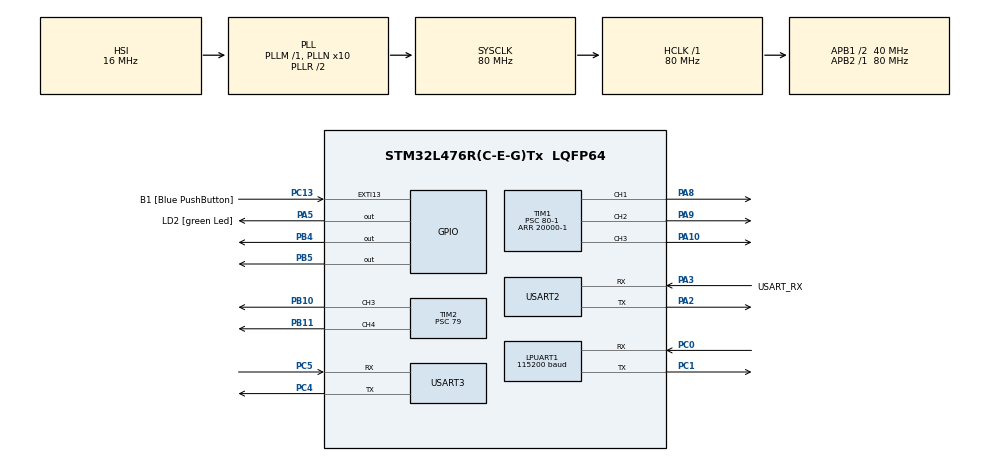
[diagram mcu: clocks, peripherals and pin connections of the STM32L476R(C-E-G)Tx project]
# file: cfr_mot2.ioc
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LPUART1.BaudRate=115200
LPUART1.WordLength=UART_WORDLENGTH_8B
Mcu.Family=STM32L4
Mcu.Name=STM32L476R(C-E-G)Tx
Mcu.Package=LQFP64
NVIC.LPUART1_IRQn=true\:0\:0\:false\:false\:true\:true\:true\:true
NVIC.PriorityGroup=NVIC_PRIORITYGROUP_4
PA10.Signal=S_TIM1_CH3
PA13\ (JTMS-SWDIO).GPIO_Label=TMS
PA13\ (JTMS-SWDIO).Mode=Serial_Wire
PA13\ (JTMS-SWDIO).Signal=SYS_JTMS-SWDIO
PA14\ (JTCK-SWCLK).GPIO_Label=TCK
PA14\ (JTCK-SWCLK).Mode=Serial_Wire
PA14\ (JTCK-SWCLK).Signal=SYS_JTCK-SWCLK
PA2.Mode=Asynchronous
PA2.Signal=USART2_TX
PA3.GPIO_Label=USART_RX
PA3.GPIO_Mode=GPIO_MODE_AF_PP
PA3.GPIO_PuPd=GPIO_NOPULL
PA3.GPIO_Speed=GPIO_SPEED_FREQ_VERY_HIGH
PA3.Mode=Asynchronous
PA3.Signal=USART2_RX
PA5.GPIO_Label=LD2 [green Led]
PA5.GPIO_ModeDefaultOutputPP=GPIO_MODE_OUTPUT_PP
PA5.GPIO_PuPd=GPIO_NOPULL
PA5.GPIO_Speed=GPIO_SPEED_FREQ_LOW
PA5.Signal=GPIO_Output
PA8.Signal=S_TIM1_CH1
PA9.Signal=S_TIM1_CH2
PB10.Signal=S_TIM2_CH3
PB11.Signal=S_TIM2_CH4
PB3\ (JTDO-TRACESWO).GPIO_Label=SWO
PB3\ (JTDO-TRACESWO).Signal=SYS_JTDO-SWO
PB4\ (NJTRST).Signal=GPIO_Output
PB5.Signal=GPIO_Output
PC0.Mode=Asynchronous
PC0.Signal=LPUART1_RX
PC1.Mode=Asynchronous
PC1.Signal=LPUART1_TX
PC13.GPIO_Label=B1 [Blue PushButton]
PC13.GPIO_ModeDefaultEXTI=GPIO_MODE_IT_FALLING
PC13.GPIO_PuPd=GPIO_NOPULL
PC13.Signal=GPXTI13
PC14-OSC32_IN\ (PC14).Mode=LSE-External-Oscillator
PC14-OSC32_IN\ (PC14).Signal=RCC_OSC32_IN
PC15-OSC32_OUT\ (PC15).Mode=LSE-External-Oscillator
PC15-OSC32_OUT\ (PC15).Signal=RCC_OSC32_OUT
PC4.Mode=Asynchronous
PC4.Signal=USART3_TX
PC5.Mode=Asynchronous
PC5.Signal=USART3_RX
PH0-OSC_IN\ (PH0).Mode=HSE-External-Oscillator
PH0-OSC_IN\ (PH0).Signal=RCC_OSC_IN
PH1-OSC_OUT\ (PH1).Mode=HSE-External-Oscillator
PH1-OSC_OUT\ (PH1).Signal=RCC_OSC_OUT
ProjectManager.HeapSize=0x200
ProjectManager.StackSize=0x400
ProjectManager.TargetToolchain=STM32CubeIDE
RCC.ADCFreq_Value=64000000
RCC.AHBFreq_Value=80000000
RCC.APB1CLKDivider=RCC_HCLK_DIV2
RCC.APB1Freq_Value=40000000
RCC.APB1TimFreq_Value=80000000
RCC.APB2Freq_Value=80000000
RCC.APB2TimFreq_Value=80000000
RCC.CortexFreq_Value=80000000
RCC.HCLKFreq_Value=80000000
RCC.HSE_VALUE=8000000
RCC.HSI_VALUE=16000000
RCC.MSI_VALUE=4000000
RCC.PLLN=10
RCC.PLLSourceVirtual=RCC_PLLSOURCE_HSI
RCC.PREFETCH_ENABLE=1
RCC.SYSCLKFreq_VALUE=80000000
RCC.SYSCLKSource=RCC_SYSCLKSOURCE_PLLCLK
RCC.USBFreq_Value=64000000
RCC.VCOOutputFreq_Value=160000000
SH.S_TIM1_CH1.0=TIM1_CH1,PWM Generation1 CH1
SH.S_TIM1_CH2.0=TIM1_CH2,PWM Generation2 CH2
SH.S_TIM1_CH3.0=TIM1_CH3,PWM Generation3 CH3
SH.S_TIM2_CH3.0=TIM2_CH3,PWM Generation3 CH3
SH.S_TIM2_CH4.0=TIM2_CH4,PWM Generation4 CH4
TIM1.Channel-PWM\ Generation1\ CH1=TIM_CHANNEL_1
TIM1.Channel-PWM\ Generation2\ CH2=TIM_CHANNEL_2
TIM1.Channel-PWM\ Generation3\ CH3=TIM_CHANNEL_3
TIM1.Period=20000-1
TIM1.Prescaler=80-1
TIM2.Channel-PWM\ Generation3\ CH3=TIM_CHANNEL_3
TIM2.Channel-PWM\ Generation4\ CH4=TIM_CHANNEL_4
TIM2.Period=1999
TIM2.Prescaler=79
USART2.VirtualMode-Asynchronous=VM_ASYNC
USART3.VirtualMode-Asynchronous=VM_ASYNC
VP_TIM1_VS_ClockSourceINT.Mode=Internal
VP_TIM2_VS_ClockSourceINT.Mode=Internal
board=NUCLEO-L476RG

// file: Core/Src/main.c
/* USER CODE BEGIN Header */
/**
 ******************************************************************************
 * @file           : main.c
 * @brief          : Main program body
 ******************************************************************************
 * @attention
 *
 * Copyright (c) 2024 STMicroelectronics.
 * All rights reserved.
 *
 * This software is licensed under terms that can be found in the LICENSE file
 * in the root directory of this software component.
 * If no LICENSE file comes with this software, it is provided AS-IS.
 *
 ******************************************************************************
 */
/* USER CODE END Header */
#include "main.h"

/* USER CODE BEGIN Includes */
#include <string.h>
#include <stdio.h>
#include "servo.h"
#include "maxon.h"
/* USER CODE END Includes */

UART_HandleTypeDef hlpuart1;
UART_HandleTypeDef huart2;
UART_HandleTypeDef huart3;

TIM_HandleTypeDef htim1;
TIM_HandleTypeDef htim2;

/* USER CODE BEGIN PV */
char rx_data[13];
char newline[] = "\r\n";
int i = 0;

/* USER CODE END PV */

void SystemClock_Config(void);
static void MX_GPIO_Init(void);
static void MX_TIM2_Init(void);
static void MX_LPUART1_UART_Init(void);
static void MX_TIM1_Init(void);
static void MX_USART2_UART_Init(void);
static void MX_USART3_UART_Init(void);

int main(void)
{

  /* MCU Configuration--------------------------------------------------------*/

  /* Reset of all peripherals, Initializes the Flash interface and the Systick. */
  HAL_Init();

  /* Configure the system clock */
  SystemClock_Config();

  /* Initialize all configured peripherals */
  MX_GPIO_Init();
  MX_TIM2_Init();
  MX_LPUART1_UART_Init();
  MX_TIM1_Init();
  MX_USART2_UART_Init();
  MX_USART3_UART_Init();
  /* USER CODE BEGIN 2 */
	HAL_TIM_PWM_Start(&htim2, TIM_CHANNEL_3); //PB10 TIM2 CH3 Moteur D
	HAL_TIM_PWM_Start(&htim2, TIM_CHANNEL_4); //PB11 TIM2 CH4 Moteur G

	HAL_TIM_PWM_Start(&htim1, TIM_CHANNEL_1); //PA 8 TIM1 CH1
	HAL_TIM_PWM_Start(&htim1, TIM_CHANNEL_2); //PA 8 TIM1 CH1
	HAL_TIM_PWM_Start(&htim1, TIM_CHANNEL_3); //PA 8 TIM1 CH1

	HAL_UART_Receive_IT(&hlpuart1, (uint8_t *)rx_data, sizeof(rx_data));

	HAL_GPIO_WritePin(GPIOB, GPIO_PIN_4, 1); //Avant moteur A
	HAL_GPIO_WritePin(GPIOB, GPIO_PIN_8, 1);
	HAL_GPIO_WritePin(GPIOB, GPIO_PIN_5, 1); //Avant moteur B
	HAL_GPIO_WritePin(GPIOB, GPIO_PIN_9, 1);

  /* USER CODE END 2 */

  /* Infinite loop */
  /* USER CODE BEGIN WHILE */
	while (1)
	{
		while(1){
			TIM1 -> CCR1 = 1000;
			HAL_Delay(1000);
			TIM1 -> CCR1 = 2000; //Valeur extremes (1-2ms)
			HAL_Delay(1000);

			TIM1 -> CCR2 = 1000;
			HAL_Delay(1000);
			TIM1 -> CCR2 = 2000; //Valeur extremes (1-2ms)
			HAL_Delay(1000);

			TIM1 -> CCR3 = 1000;
			HAL_Delay(1000);
			TIM1 -> CCR3 = 2000; //Valeur extremes (1-2ms)
			HAL_Delay(1000);

		}

		// Pour le moteur Maxon droit
		//char direction_d = rx_data[0]; // Premier caractère pour la direction
		char mot_maxon_dataD[5];      // 4 caractères + '\0' pour la vitesse
		strncpy(mot_maxon_dataD, (char *)&rx_data[1], 4);
		mot_maxon_dataD[4] = '\0';    // Null terminate
		int mot_maxon_valueD = atoi(mot_maxon_dataD);
		int inv_d = (int)rx_data[0];
		mot_maxonD(mot_maxon_valueD, inv_d);

		// Pour le moteur Maxon gauche
		char direction_g = rx_data[5]; // Premier caractère pour la direction
		char mot_maxon_dataG[5];      // 4 caractères + '\0' pour la vitesse
		strncpy(mot_maxon_dataG, (char *)&rx_data[6], 4);
		mot_maxon_dataG[4] = '\0';    // Null terminate
		int mot_maxon_valueG = atoi(mot_maxon_dataG);
		int inv_g = (int)rx_data[5];
		mot_maxonG(mot_maxon_valueG, inv_g);

		// Pour le servo moteur
		char servo_goal_data[5];
		memcpy(servo_goal_data, (char *)&rx_data[10], 3);
		servo_goal_data[4] = '\r'; // Ajouter retour chariot
		servo_goal_data[5] = '\n';
		//fonction servo
		reach_servo_goal(servo_goal_data);
		HAL_UART_Transmit(&huart3, (uint8_t *)servo_goal_data, 5, HAL_MAX_DELAY);

		// Transmission pour debug
		char message[15]; // 13 caractères de rx_data + 2 pour "\r\n"
		memcpy(message, rx_data, 13); // Copier rx_data dans message
		message[14] = '\r'; // Ajouter retour chariot
		message[15] = '\n'; // Ajouter nouvelle ligne
		//HAL_UART_Transmit(&huart2, (uint8_t *)message, sizeof(message), HAL_MAX_DELAY);

    /* USER CODE END WHILE */

	}
}

void SystemClock_Config(void)
{
  RCC_OscInitTypeDef RCC_OscInitStruct = {0};
  RCC_ClkInitTypeDef RCC_ClkInitStruct = {0};

  /** Configure the main internal regulator output voltage
  */
  if (HAL_PWREx_ControlVoltageScaling(PWR_REGULATOR_VOLTAGE_SCALE1) != HAL_OK)
  {
    Error_Handler();
  }

  /** Initializes the RCC Oscillators according to the specified parameters
  * in the RCC_OscInitTypeDef structure.
  */
  RCC_OscInitStruct.OscillatorType = RCC_OSCILLATORTYPE_HSI;
  RCC_OscInitStruct.HSIState = RCC_HSI_ON;
  RCC_OscInitStruct.HSICalibrationValue = RCC_HSICALIBRATION_DEFAULT;
  RCC_OscInitStruct.PLL.PLLState = RCC_PLL_ON;
  RCC_OscInitStruct.PLL.PLLSource = RCC_PLLSOURCE_HSI;
  RCC_OscInitStruct.PLL.PLLM = 1;
  RCC_OscInitStruct.PLL.PLLN = 10;
  RCC_OscInitStruct.PLL.PLLP = RCC_PLLP_DIV7;
  RCC_OscInitStruct.PLL.PLLQ = RCC_PLLQ_DIV2;
  RCC_OscInitStruct.PLL.PLLR = RCC_PLLR_DIV2;
  if (HAL_RCC_OscConfig(&RCC_OscInitStruct) != HAL_OK)
  {
    Error_Handler();
  }

  /** Initializes the CPU, AHB and APB buses clocks
  */
  RCC_ClkInitStruct.ClockType = RCC_CLOCKTYPE_HCLK|RCC_CLOCKTYPE_SYSCLK
                              |RCC_CLOCKTYPE_PCLK1|RCC_CLOCKTYPE_PCLK2;
  RCC_ClkInitStruct.SYSCLKSource = RCC_SYSCLKSOURCE_PLLCLK;
  RCC_ClkInitStruct.AHBCLKDivider = RCC_SYSCLK_DIV1;
  RCC_ClkInitStruct.APB1CLKDivider = RCC_HCLK_DIV2;
  RCC_ClkInitStruct.APB2CLKDivider = RCC_HCLK_DIV1;

  if (HAL_RCC_ClockConfig(&RCC_ClkInitStruct, FLASH_LATENCY_4) != HAL_OK)
  {
    Error_Handler();
  }
}

static void MX_LPUART1_UART_Init(void)
{

  hlpuart1.Instance = LPUART1;
  hlpuart1.Init.BaudRate = 115200;
  hlpuart1.Init.WordLength = UART_WORDLENGTH_8B;
  hlpuart1.Init.StopBits = UART_STOPBITS_1;
  hlpuart1.Init.Parity = UART_PARITY_NONE;
  hlpuart1.Init.Mode = UART_MODE_TX_RX;
  hlpuart1.Init.HwFlowCtl = UART_HWCONTROL_NONE;
  hlpuart1.Init.OneBitSampling = UART_ONE_BIT_SAMPLE_DISABLE;
  hlpuart1.AdvancedInit.AdvFeatureInit = UART_ADVFEATURE_NO_INIT;
  if (HAL_UART_Init(&hlpuart1) != HAL_OK)
  {
    Error_Handler();
  }

}

static void MX_USART2_UART_Init(void)
{

  huart2.Instance = USART2;
  huart2.Init.BaudRate = 115200;
  huart2.Init.WordLength = UART_WORDLENGTH_8B;
  huart2.Init.StopBits = UART_STOPBITS_1;
  huart2.Init.Parity = UART_PARITY_NONE;
  huart2.Init.Mode = UART_MODE_TX_RX;
  huart2.Init.HwFlowCtl = UART_HWCONTROL_NONE;
  huart2.Init.OverSampling = UART_OVERSAMPLING_16;
  huart2.Init.OneBitSampling = UART_ONE_BIT_SAMPLE_DISABLE;
  huart2.AdvancedInit.AdvFeatureInit = UART_ADVFEATURE_NO_INIT;
  if (HAL_UART_Init(&huart2) != HAL_OK)
  {
    Error_Handler();
  }

}

static void MX_USART3_UART_Init(void)
{

  huart3.Instance = USART3;
  huart3.Init.BaudRate = 115200;
  huart3.Init.WordLength = UART_WORDLENGTH_8B;
  huart3.Init.StopBits = UART_STOPBITS_1;
  huart3.Init.Parity = UART_PARITY_NONE;
  huart3.Init.Mode = UART_MODE_TX_RX;
  huart3.Init.HwFlowCtl = UART_HWCONTROL_NONE;
  huart3.Init.OverSampling = UART_OVERSAMPLING_16;
  huart3.Init.OneBitSampling = UART_ONE_BIT_SAMPLE_DISABLE;
  huart3.AdvancedInit.AdvFeatureInit = UART_ADVFEATURE_NO_INIT;
  if (HAL_UART_Init(&huart3) != HAL_OK)
  {
    Error_Handler();
  }

}

static void MX_TIM1_Init(void)
{

  TIM_ClockConfigTypeDef sClockSourceConfig = {0};
  TIM_MasterConfigTypeDef sMasterConfig = {0};
  TIM_OC_InitTypeDef sConfigOC = {0};
  TIM_BreakDeadTimeConfigTypeDef sBreakDeadTimeConfig = {0};

  htim1.Instance = TIM1;
  htim1.Init.Prescaler = 80-1;
  htim1.Init.CounterMode = TIM_COUNTERMODE_UP;
  htim1.Init.Period = 20000-1;
  htim1.Init.ClockDivision = TIM_CLOCKDIVISION_DIV1;
  htim1.Init.RepetitionCounter = 0;
  htim1.Init.AutoReloadPreload = TIM_AUTORELOAD_PRELOAD_DISABLE;
  if (HAL_TIM_Base_Init(&htim1) != HAL_OK)
  {
    Error_Handler();
  }
  sClockSourceConfig.ClockSource = TIM_CLOCKSOURCE_INTERNAL;
  if (HAL_TIM_ConfigClockSource(&htim1, &sClockSourceConfig) != HAL_OK)
  {
    Error_Handler();
  }
  if (HAL_TIM_PWM_Init(&htim1) != HAL_OK)
  {
    Error_Handler();
  }
  sMasterConfig.MasterOutputTrigger = TIM_TRGO_RESET;
  sMasterConfig.MasterOutputTrigger2 = TIM_TRGO2_RESET;
  sMasterConfig.MasterSlaveMode = TIM_MASTERSLAVEMODE_DISABLE;
  if (HAL_TIMEx_MasterConfigSynchronization(&htim1, &sMasterConfig) != HAL_OK)
  {
    Error_Handler();
  }
  sConfigOC.OCMode = TIM_OCMODE_PWM1;
  sConfigOC.Pulse = 0;
  sConfigOC.OCPolarity = TIM_OCPOLARITY_HIGH;
  sConfigOC.OCNPolarity = TIM_OCNPOLARITY_HIGH;
  sConfigOC.OCFastMode = TIM_OCFAST_DISABLE;
  sConfigOC.OCIdleState = TIM_OCIDLESTATE_RESET;
  sConfigOC.OCNIdleState = TIM_OCNIDLESTATE_RESET;
  if (HAL_TIM_PWM_ConfigChannel(&htim1, &sConfigOC, TIM_CHANNEL_1) != HAL_OK)
  {
    Error_Handler();
  }
  if (HAL_TIM_PWM_ConfigChannel(&htim1, &sConfigOC, TIM_CHANNEL_2) != HAL_OK)
  {
    Error_Handler();
  }
  if (HAL_TIM_PWM_ConfigChannel(&htim1, &sConfigOC, TIM_CHANNEL_3) != HAL_OK)
  {
    Error_Handler();
  }
  sBreakDeadTimeConfig.OffStateRunMode = TIM_OSSR_DISABLE;
  sBreakDeadTimeConfig.OffStateIDLEMode = TIM_OSSI_DISABLE;
  sBreakDeadTimeConfig.LockLevel = TIM_LOCKLEVEL_OFF;
  sBreakDeadTimeConfig.DeadTime = 0;
  sBreakDeadTimeConfig.BreakState = TIM_BREAK_DISABLE;
  sBreakDeadTimeConfig.BreakPolarity = TIM_BREAKPOLARITY_HIGH;
  sBreakDeadTimeConfig.BreakFilter = 0;
  sBreakDeadTimeConfig.Break2State = TIM_BREAK2_DISABLE;
  sBreakDeadTimeConfig.Break2Polarity = TIM_BREAK2POLARITY_HIGH;
  sBreakDeadTimeConfig.Break2Filter = 0;
  sBreakDeadTimeConfig.AutomaticOutput = TIM_AUTOMATICOUTPUT_DISABLE;
  if (HAL_TIMEx_ConfigBreakDeadTime(&htim1, &sBreakDeadTimeConfig) != HAL_OK)
  {
    Error_Handler();
  }
  HAL_TIM_MspPostInit(&htim1);

}

static void MX_TIM2_Init(void)
{

  TIM_ClockConfigTypeDef sClockSourceConfig = {0};
  TIM_MasterConfigTypeDef sMasterConfig = {0};
  TIM_OC_InitTypeDef sConfigOC = {0};

  htim2.Instance = TIM2;
  htim2.Init.Prescaler = 79;
  htim2.Init.CounterMode = TIM_COUNTERMODE_UP;
  htim2.Init.Period = 1999;
  htim2.Init.ClockDivision = TIM_CLOCKDIVISION_DIV1;
  htim2.Init.AutoReloadPreload = TIM_AUTORELOAD_PRELOAD_DISABLE;
  if (HAL_TIM_Base_Init(&htim2) != HAL_OK)
  {
    Error_Handler();
  }
  sClockSourceConfig.ClockSource = TIM_CLOCKSOURCE_INTERNAL;
  if (HAL_TIM_ConfigClockSource(&htim2, &sClockSourceConfig) != HAL_OK)
  {
    Error_Handler();
  }
  if (HAL_TIM_PWM_Init(&htim2) != HAL_OK)
  {
    Error_Handler();
  }
  sMasterConfig.MasterOutputTrigger = TIM_TRGO_RESET;
  sMasterConfig.MasterSlaveMode = TIM_MASTERSLAVEMODE_DISABLE;
  if (HAL_TIMEx_MasterConfigSynchronization(&htim2, &sMasterConfig) != HAL_OK)
  {
    Error_Handler();
  }
  sConfigOC.OCMode = TIM_OCMODE_PWM1;
  sConfigOC.Pulse = 0;
  sConfigOC.OCPolarity = TIM_OCPOLARITY_HIGH;
  sConfigOC.OCFastMode = TIM_OCFAST_DISABLE;
  if (HAL_TIM_PWM_ConfigChannel(&htim2, &sConfigOC, TIM_CHANNEL_3) != HAL_OK)
  {
    Error_Handler();
  }
  if (HAL_TIM_PWM_ConfigChannel(&htim2, &sConfigOC, TIM_CHANNEL_4) != HAL_OK)
  {
    Error_Handler();
  }
  HAL_TIM_MspPostInit(&htim2);

}

static void MX_GPIO_Init(void)
{
  GPIO_InitTypeDef GPIO_InitStruct = {0};

  /* GPIO Ports Clock Enable */
  __HAL_RCC_GPIOC_CLK_ENABLE();
  __HAL_RCC_GPIOH_CLK_ENABLE();
  __HAL_RCC_GPIOA_CLK_ENABLE();
  __HAL_RCC_GPIOB_CLK_ENABLE();

  /*Configure GPIO pin Output Level */
  HAL_GPIO_WritePin(LD2_GPIO_Port, LD2_Pin, GPIO_PIN_RESET);

  /*Configure GPIO pin Output Level */
  HAL_GPIO_WritePin(GPIOB, GPIO_PIN_4|GPIO_PIN_5, GPIO_PIN_RESET);

  /*Configure GPIO pin : B1_Pin */
  GPIO_InitStruct.Pin = B1_Pin;
  GPIO_InitStruct.Mode = GPIO_MODE_IT_FALLING;
  GPIO_InitStruct.Pull = GPIO_NOPULL;
  HAL_GPIO_Init(B1_GPIO_Port, &GPIO_InitStruct);

  /*Configure GPIO pin : LD2_Pin */
  GPIO_InitStruct.Pin = LD2_Pin;
  GPIO_InitStruct.Mode = GPIO_MODE_OUTPUT_PP;
  GPIO_InitStruct.Pull = GPIO_NOPULL;
  GPIO_InitStruct.Speed = GPIO_SPEED_FREQ_LOW;
  HAL_GPIO_Init(LD2_GPIO_Port, &GPIO_InitStruct);

  /*Configure GPIO pins : PB4 PB5 */
  GPIO_InitStruct.Pin = GPIO_PIN_4|GPIO_PIN_5;
  GPIO_InitStruct.Mode = GPIO_MODE_OUTPUT_PP;
  GPIO_InitStruct.Pull = GPIO_NOPULL;
  GPIO_InitStruct.Speed = GPIO_SPEED_FREQ_LOW;
  HAL_GPIO_Init(GPIOB, &GPIO_InitStruct);

}

/* USER CODE BEGIN 4 */
void HAL_UART_RxCpltCallback(UART_HandleTypeDef *huart)
{
	if (huart == &hlpuart1) {
		// Réactiver la réception immédiatement
		HAL_UART_Receive_IT(&hlpuart1, (uint8_t *)rx_data, sizeof(rx_data));
	}
}
/* USER CODE END 4 */

void Error_Handler(void)
{
	__disable_irq();
	while (1)
	{
	}
}
